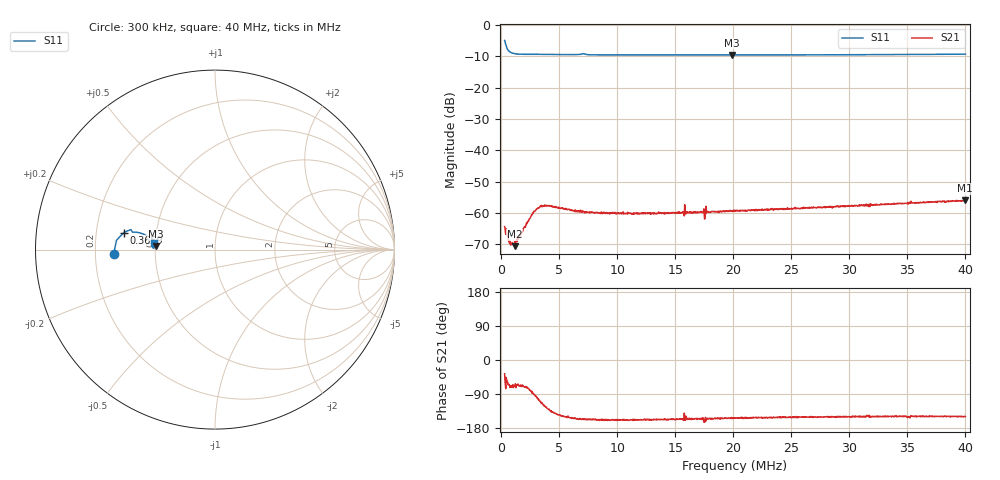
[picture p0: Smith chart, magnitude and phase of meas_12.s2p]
# HZ S RI R 50
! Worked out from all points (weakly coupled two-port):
!   1206 points, 300 kHz to 40 MHz, reference 50 ohm
!   highest |S21| = -55.91 dB at 39.97 MHz (marker M1); lowest = -70.6 dB at 1.157 MHz (marker M2)
!   lowest |S11| = -9.6 dB at 19.9 MHz (marker M3), VSWR 1.99, Z = 25.2 + j1.02 ohm
!   |S11| at or under -10 dB: nowhere
!   S12 and S22 are empty: the file has one direction only
!   S11 on the Smith chart (normalised r, x): 300 kHz: 0.28, -0.02; 365.9 kHz: 0.32, +0.08; 40 MHz: 0.49, +0.04
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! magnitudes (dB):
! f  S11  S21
! 300 kHz  -4.9  -64.4
! 365.9 kHz  -5.7  -66.0
! 596.5 kHz  -8.0  -68.0
! 794.2 kHz  -8.7  -69.8
! 958.9 kHz  -9.0  -69.4
! 1.157 MHz  -9.2  -70.6
! 1.585 MHz  -9.3  -67.7
! 2.672 MHz  -9.4  -60.6
! 3.265 MHz  -9.4  -58.3
! 4.089 MHz  -9.4  -57.8
! 6.922 MHz  -9.3  -59.6
! 8.569 MHz  -9.6  -60.1
! 13.54 MHz  -9.6  -59.9
! 17.27 MHz  -9.6  -59.6
! 17.43 MHz  -9.6  -59.7
! 17.86 MHz  -9.6  -59.6
! 19.9 MHz  -9.6  -59.3
! 20.17 MHz  -9.6  -59.3
! 26.79 MHz  -9.5  -58.2
! 33.41 MHz  -9.4  -57.1
! 39.97 MHz  -9.3  -55.9
! 40 MHz  -9.3  -56.0
